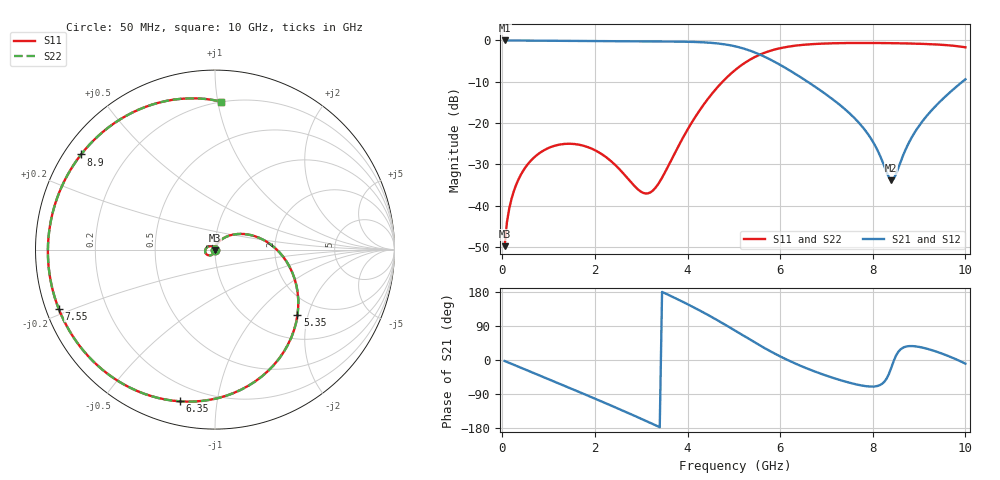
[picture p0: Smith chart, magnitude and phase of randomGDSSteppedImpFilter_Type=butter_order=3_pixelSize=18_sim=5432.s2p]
! freq	dB(S11)	phase(S11)	dB(S12)	phase(S12)
!  dB(S21)	phase(S21)	dB(S22)	phase(S22)
!S-par simulation data
#  GHz  S  DB  R 50
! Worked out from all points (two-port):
!   200 points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, 50 MHz to 10 GHz, reference 50 ohm
!   highest |S21| = 0.00 dB at 50 MHz (marker M1); lowest = -33.9 dB at 8.4 GHz (marker M2)
!   |S21| within 3 dB of the highest: start of sweep to 5.473 GHz
!   lowest |S11| = -49.8 dB at 50 MHz (marker M3), VSWR 1.01, Z = 50 - j0.322 ohm
!   |S11| at or under -10 dB: start of sweep to 4.757 GHz
!   |S22| runs from -49.8 to -0.6 dB; largest |S21 - S12| = 0
!   S11 on the Smith chart (normalised r, x): 50 MHz: 1.00, -0.01; 5.35 GHz: 1.55, -1.71; 6.35 GHz: 0.12, -0.79; 7.55 GHz: 0.04, -0.18; 8.9 GHz: 0.05, +0.32; 10 GHz: 0.20, +1.02
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0.05  -49.84 -89.6  -0.00 -2.6  -0.00 -2.6  -49.84 -89.6
0.2  -38.34 -98.5  -0.02 -10.2  -0.02 -10.2  -38.34 -98.5
0.55  -29.99 -118.3  -0.04 -27.9  -0.04 -27.9  -29.99 -118.5
1.2  -25.31 -152.0  -0.08 -60.9  -0.08 -60.9  -25.31 -152.3
1.75  -25.50 179.3  -0.11 -89.0  -0.11 -89.0  -25.49 178.6
2.35  -29.26 146.6  -0.15 -120.2  -0.15 -120.2  -29.24 145.1
3.05  -36.95 101.1  -0.20 -157.9  -0.20 -157.9  -36.77 96.8
3.4  -34.20 81.3  -0.23 -177.4  -0.23 -177.4  -34.07 78.2
3.9  -23.59 57.7  -0.30 153.4  -0.30 153.4  -23.56 56.9
4.4  -14.75 28.4  -0.50 121.7  -0.50 121.7  -14.75 28.2
5.05  -6.96 -16.5  -1.48 75.8  -1.48 75.8  -6.96 -16.4
5.35  -4.64 -38.3  -2.48 53.7  -2.48 53.7  -4.64 -38.2
5.9  -2.15 -76.2  -5.30 15.8  -5.30 15.8  -2.15 -76.1
6.35  -1.23 -103.0  -8.26 -10.6  -8.26 -10.6  -1.23 -102.9
6.7  -0.89 -121.2  -10.80 -28.1  -10.80 -28.1  -0.89 -121.1
7.55  -0.62 -159.3  -18.20 -61.6  -18.20 -61.6  -0.62 -159.2
8  -0.62 -177.8  -24.48 -70.1  -24.48 -70.1  -0.62 -177.7
8.35  -0.65 167.9  -33.20 -36.5  -33.20 -36.5  -0.65 168.0
8.4  -0.66 165.9  -33.88 -20.3  -33.88 -20.3  -0.66 165.9
8.9  -0.77 144.6  -22.38 36.3  -22.38 36.3  -0.77 144.6
9.5  -1.06 116.2  -14.29 16.7  -14.29 16.7  -1.06 116.1
10  -1.67 87.8  -9.41 -9.7  -9.41 -9.7  -1.67 87.7
